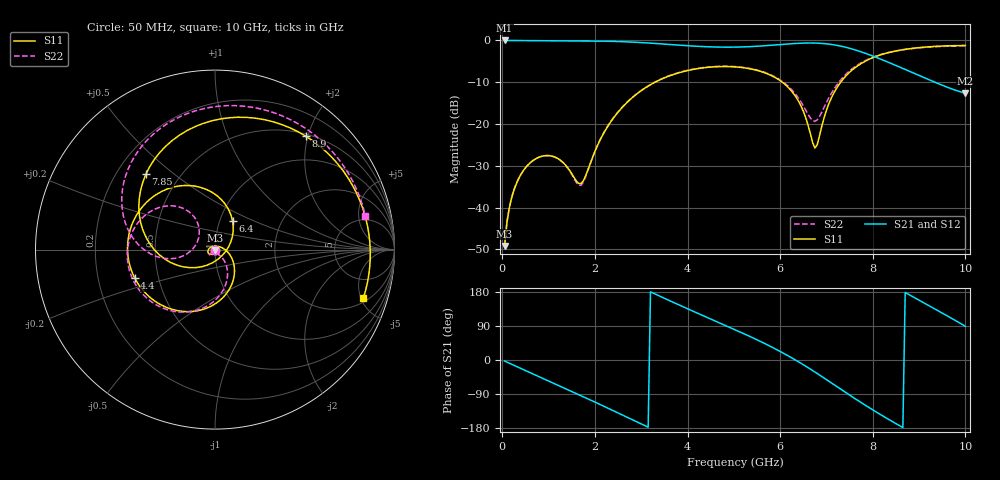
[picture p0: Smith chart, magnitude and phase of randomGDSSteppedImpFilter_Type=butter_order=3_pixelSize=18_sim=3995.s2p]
! freq	dB(S11)	phase(S11)	dB(S12)	phase(S12)
!  dB(S21)	phase(S21)	dB(S22)	phase(S22)
!S-par simulation data
#  GHz  S  DB  R 50
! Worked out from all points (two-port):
!   200 points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, 50 MHz to 10 GHz, reference 50 ohm
!   highest |S21| = -0.01 dB at 50 MHz (marker M1); lowest = -12.6 dB at 10 GHz (marker M2)
!   |S21| within 3 dB of the highest: start of sweep to 7.822 GHz
!   lowest |S11| = -49.2 dB at 50 MHz (marker M3), VSWR 1.01, Z = 50 - j0.347 ohm
!   |S11| at or under -10 dB: start of sweep to 3.297 GHz; 6.046 GHz to 7.307 GHz (1.26 GHz wide, 18.9 % of centre)
!   |S22| runs from -49.2 to -1.3 dB; largest |S21 - S12| = 0
!   S11 on the Smith chart (normalised r, x): 50 MHz: 1.00, -0.01; 4.4 GHz: 0.37, -0.15; 6.4 GHz: 1.15, +0.38; 7.85 GHz: 0.32, +0.40; 8.9 GHz: 0.54, +1.96; 10 GHz: 2.36, -5.24
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0.05  -49.19 -85.8  -0.01 -2.8  -0.01 -2.8  -49.21 -84.7
0.15  -40.10 -96.9  -0.02 -8.3  -0.02 -8.3  -40.08 -94.5
0.25  -35.83 -104.6  -0.02 -13.8  -0.02 -13.8  -35.81 -100.5
0.65  -28.84 -132.1  -0.05 -35.8  -0.05 -35.8  -28.83 -120.2
1.15  -27.96 -169.7  -0.08 -63.4  -0.08 -63.4  -27.99 -139.2
1.75  -33.58 66.0  -0.12 -96.8  -0.12 -96.8  -33.92 -79.6
2.4  -18.55 -32.4  -0.23 -134.0  -0.23 -134.0  -18.50 -56.3
2.9  -12.83 -68.2  -0.45 -162.9  -0.45 -162.9  -12.79 -78.5
3.4  -9.44 -100.6  -0.80 168.5  -0.80 168.5  -9.39 -103.3
4.4  -6.47 -160.6  -1.50 113.7  -1.50 113.7  -6.41 -151.8
5.05  -6.34 160.8  -1.59 78.7  -1.59 78.7  -6.28 177.8
5.75  -8.10 114.8  -1.21 38.4  -1.21 38.4  -7.99 145.0
6.4  -14.61 58.2  -0.68 -5.0  -0.68 -5.0  -13.89 122.4
6.7  -24.39 -9.2  -0.61 -27.7  -0.61 -27.7  -19.17 147.4
6.8  -24.97 -73.6  -0.64 -35.6  -0.64 -35.6  -19.00 168.7
7  -16.68 -136.8  -0.81 -51.7  -0.81 -51.7  -14.85 -168.8
7.25  -10.89 -169.5  -1.23 -72.2  -1.23 -72.2  -10.24 -171.6
7.85  -4.89 132.6  -3.12 -120.2  -3.12 -120.2  -4.74 153.7
8.35  -2.88 91.5  -5.29 -157.3  -5.29 -157.3  -2.85 121.1
8.9  -1.84 51.4  -7.90 164.5  -7.90 164.5  -1.89 85.3
9.45  -1.36 15.2  -10.49 127.3  -10.49 127.3  -1.45 49.3
10  -1.21 -18.1  -12.64 88.9  -12.64 88.9  -1.33 12.5
